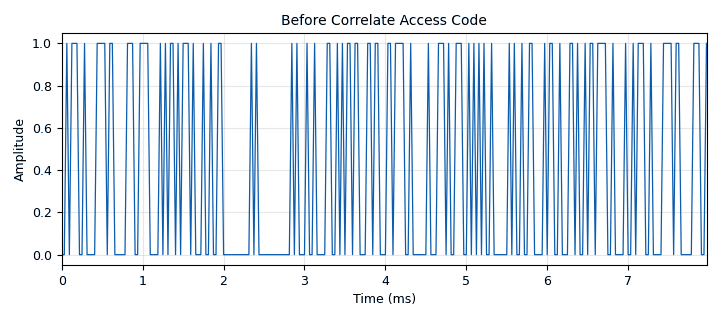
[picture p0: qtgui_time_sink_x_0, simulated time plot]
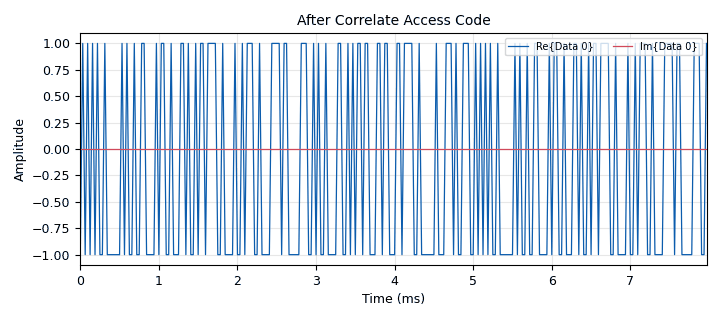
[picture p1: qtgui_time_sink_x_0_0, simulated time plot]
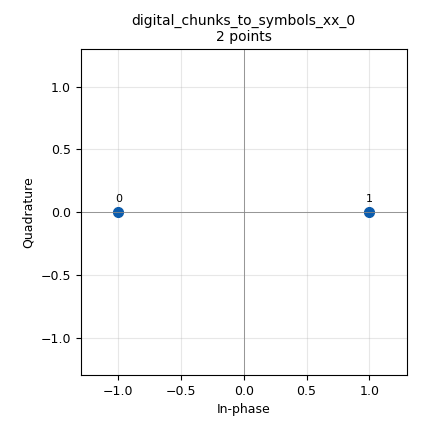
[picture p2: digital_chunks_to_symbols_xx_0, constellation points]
options:
  parameters:
    author: emmanuelkwakyenyantakyi
    generate_options: qt_gui
    id: packet_comm_using_msg_stream_blocks_6_3
    output_language: python
    title: Packet communication using message and stream blocks
  states: {}

blocks:
- name: rcv_len_key
  id: variable
  parameters:
    value: '"rcv_len_key"'
  states: {}
- name: samp_rate
  id: variable
  parameters:
    value: '32000'
  states: {}
- name: tr_len_key
  id: variable
  parameters:
    value: '"tr_len_key"'
  states: {}
- name: blocks_message_strobe_0
  id: blocks_message_strobe
  parameters:
    comment: |-
      Generate payload message
      "Hello GNU Radio!"
    msg: pmt.cons( pmt.make_dict(), pmt.to_pmt( numpy.array( [ord(c) for c in "Hello GNU Radio!"], dtype=numpy.uint8 ) ) )
    period: '1000'
  states: {}
- name: blocks_repack_bits_bb_0
  id: blocks_repack_bits_bb
  parameters:
    endianness: gr.GR_MSB_FIRST
    k: '8'
    l: '1'
    len_tag_key: tr_len_key
  states: {}
- name: blocks_repack_bits_bb_1
  id: blocks_repack_bits_bb
  parameters:
    endianness: gr.GR_MSB_FIRST
    k: '1'
    l: '8'
    len_tag_key: rcv_len_key
  states: {}
- name: blocks_tag_gate_0
  id: blocks_tag_gate
  parameters:
    comment: Remove tags (in a real channel tags are not sent)
    propagate_tags: 'False'
    type: byte
  states: {}
- name: blocks_tagged_stream_mux_0
  id: blocks_tagged_stream_mux
  parameters:
    comment: Append header to payload
    lengthtagname: tr_len_key
    ninputs: '2'
    type: byte
  states: {}
- name: blocks_throttle2_0
  id: blocks_throttle2
  parameters:
    samples_per_second: samp_rate
    type: byte
  states: {}
- name: blocks_uchar_to_float_0
  id: blocks_uchar_to_float
  parameters: {}
  states: {}
- name: digital_chunks_to_symbols_xx_0
  id: digital_chunks_to_symbols_xx
  parameters:
    dimension: '1'
    in_type: byte
    out_type: complex
    symbol_table: '[-1, 1]'
  states: {}
- name: digital_correlate_access_code_xx_ts_0
  id: digital_correlate_access_code_xx_ts
  parameters:
    access_code: '11100001010110101110100010010011'
    comment: |-
      Correlate with access code to 
      extract the payload
    tagname: rcv_len_key
    threshold: '0'
    type: byte
  states: {}
- name: digital_crc_append_0
  id: digital_crc_append
  parameters:
    poly: '0x4C11DB7'
  states: {}
- name: digital_crc_check_0
  id: digital_crc_check
  parameters:
    discard_crc: 'True'
    poly: '0x4C11DB7'
  states: {}
- name: digital_protocol_formatter_bb_0
  id: digital_protocol_formatter_bb
  parameters:
    comment: Generate header
    format: hdr_format
    len_tag_key: tr_len_key
  states: {}
- name: epy_block_0
  id: epy_block
  parameters:
    _source_code: |-
      import numpy as np
      from gnuradio import gr
      import pmt


      class blk(gr.basic_block):
          """Packet Print ASCII"""

          def __init__(self):
              gr.basic_block.__init__(
                  self,
                  name="Packet Print ASCII",
                  in_sig=None,
                  out_sig=None
              )

              # Register message input port
              self.message_port_register_in(pmt.intern("in"))

              # Set message handler
              self.set_msg_handler(
                  pmt.intern("in"),
                  self.handle_message
              )

          def handle_message(self, msg):

              # Extract payload from PDU
              payload = pmt.cdr(msg)

              # Convert PMT vector to NumPy array
              data = pmt.u8vector_elements(payload)

              # Convert bytes to ASCII text
              text = bytes(data).decode("ascii", errors="replace")

              # Print received message
              print(text)
  states: {}
- name: hdr_format
  id: parameter
  parameters:
    label: Header formatter
    value: digital.header_format_default('11100001010110101110100010010011',0)
  states: {}
- name: import_0
  id: import
  parameters:
    imports: from gnuradio import digital
  states: {}
- name: import_1
  id: import
  parameters:
    imports: import numpy
  states: {}
- name: pdu_pdu_to_tagged_stream_0
  id: pdu_pdu_to_tagged_stream
  parameters:
    tag: tr_len_key
    type: byte
  states: {}
- name: pdu_tagged_stream_to_pdu_0
  id: pdu_tagged_stream_to_pdu
  parameters:
    tag: rcv_len_key
    type: byte
  states: {}
- name: qtgui_time_sink_x_0
  id: qtgui_time_sink_x
  parameters:
    autoscale: 'True'
    name: Before Correlate Access Code
    size: '256'
    srate: samp_rate
    type: float
  states: {}
- name: qtgui_time_sink_x_0_0
  id: qtgui_time_sink_x
  parameters:
    autoscale: 'True'
    name: After Correlate Access Code
    size: '256'
    srate: samp_rate
    type: complex
  states: {}
- name: virtual_sink_0
  id: virtual_sink
  parameters:
    stream_id: to_chain
  states: {}
- name: virtual_sink_1
  id: virtual_sink
  parameters:
    stream_id: from_chain
  states: {}
- name: virtual_source_0
  id: virtual_source
  parameters:
    stream_id: to_chain
  states: {}
- name: virtual_source_1
  id: virtual_source
  parameters:
    stream_id: from_chain
  states: {}

connections:
- [blocks_message_strobe_0, strobe, digital_crc_append_0, in]
- [blocks_repack_bits_bb_0, '0', virtual_sink_0, '0']
- [blocks_repack_bits_bb_1, '0', pdu_tagged_stream_to_pdu_0, '0']
- [blocks_tag_gate_0, '0', virtual_sink_1, '0']
- [blocks_tagged_stream_mux_0, '0', blocks_throttle2_0, '0']
- [blocks_throttle2_0, '0', blocks_repack_bits_bb_0, '0']
- [blocks_uchar_to_float_0, '0', qtgui_time_sink_x_0, '0']
- [digital_chunks_to_symbols_xx_0, '0', qtgui_time_sink_x_0_0, '0']
- [digital_correlate_access_code_xx_ts_0, '0', blocks_repack_bits_bb_1, '0']
- [digital_correlate_access_code_xx_ts_0, '0', digital_chunks_to_symbols_xx_0, '0']
- [digital_crc_append_0, out, pdu_pdu_to_tagged_stream_0, pdus]
- [digital_crc_check_0, ok, epy_block_0, in]
- [digital_protocol_formatter_bb_0, '0', blocks_tagged_stream_mux_0, '0']
- [pdu_pdu_to_tagged_stream_0, '0', blocks_tagged_stream_mux_0, '1']
- [pdu_pdu_to_tagged_stream_0, '0', digital_protocol_formatter_bb_0, '0']
- [pdu_tagged_stream_to_pdu_0, pdus, digital_crc_check_0, in]
- [virtual_source_0, '0', blocks_tag_gate_0, '0']
- [virtual_source_1, '0', blocks_uchar_to_float_0, '0']
- [virtual_source_1, '0', digital_correlate_access_code_xx_ts_0, '0']

metadata:
  file_format: 1
  grc_version: 3.10.12.0
